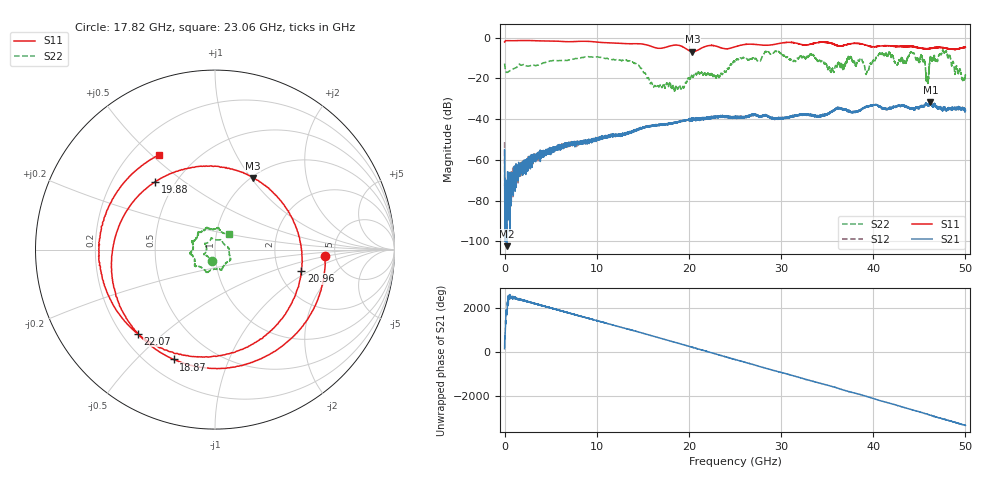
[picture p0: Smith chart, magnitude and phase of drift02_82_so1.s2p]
!Created with skrf (http://scikit-rf.org).
# Hz S RI R 50.0
!freq ReS11 ImS11 ReS21 ImS21 ReS12 ImS12 ReS22 ImS22
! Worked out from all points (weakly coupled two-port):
!   10001 points, 300 kHz to 50 GHz, reference 50 ohm
!   highest |S21| = -31.57 dB at 46.21 GHz (marker M1); lowest = -102.3 dB at 220.3 MHz (marker M2)
!   lowest |S11| = -6.9 dB at 20.38 GHz (marker M3), VSWR 2.64, Z = 50.8 + j50.9 ohm
!   |S11| at or under -10 dB: nowhere
!   |S22| runs from -26.7 to -6.1 dB; largest |S21 - S12| = 0.0027
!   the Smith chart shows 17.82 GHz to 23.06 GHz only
!   S11 on the Smith chart (normalised r, x): 17.82 GHz: 4.14, -0.49; 18.87 GHz: 0.30, -0.65; 19.88 GHz: 0.39, +0.39; 20.96 GHz: 2.66, -0.83; 22.07 GHz: 0.26, -0.41; 23.06 GHz: 0.31, +0.53
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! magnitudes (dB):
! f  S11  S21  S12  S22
! 300 kHz  -2.1  -54.9  -51.3  -12.7
! 220.3 MHz  -1.4  -102.3  -71.2  -17.0
! 2.955 GHz  -1.4  -60.0  -58.2  -13.5
! 8.335 GHz  -1.7  -51.7  -51.6  -9.7
! 13.7 GHz  -2.9  -46.3  -46.1  -11.7
! 16.67 GHz  -5.2  -42.9  -42.9  -23.8
! 17.82 GHz  -4.2  -42.0  -42.3  -23.4
! 18.87 GHz  -3.7  -41.5  -41.3  -24.3
! 19.88 GHz  -5.9  -40.5  -40.4  -20.3
! 20.38 GHz  -6.9  -40.1  -40.2  -19.1
! 20.96 GHz  -6.1  -39.9  -40.1  -17.1
! 22.07 GHz  -3.9  -39.3  -39.0  -17.4
! 23.06 GHz  -4.3  -38.7  -38.8  -18.8
! 25 GHz  -4.5  -39.1  -39.0  -11.6
! 33.34 GHz  -3.0  -37.8  -37.9  -8.3
! 39.33 GHz  -3.8  -33.8  -33.8  -16.7
! 41.67 GHz  -3.9  -34.9  -34.6  -7.5
! 44.27 GHz  -4.3  -34.4  -34.6  -7.6
! 45.86 GHz  -5.4  -32.7  -32.9  -19.6
! 46.21 GHz  -5.3  -31.6  -31.7  -10.1
! 47.75 GHz  -5.0  -34.8  -34.7  -7.1
! 50 GHz  -4.7  -35.6  -35.8  -18.4
